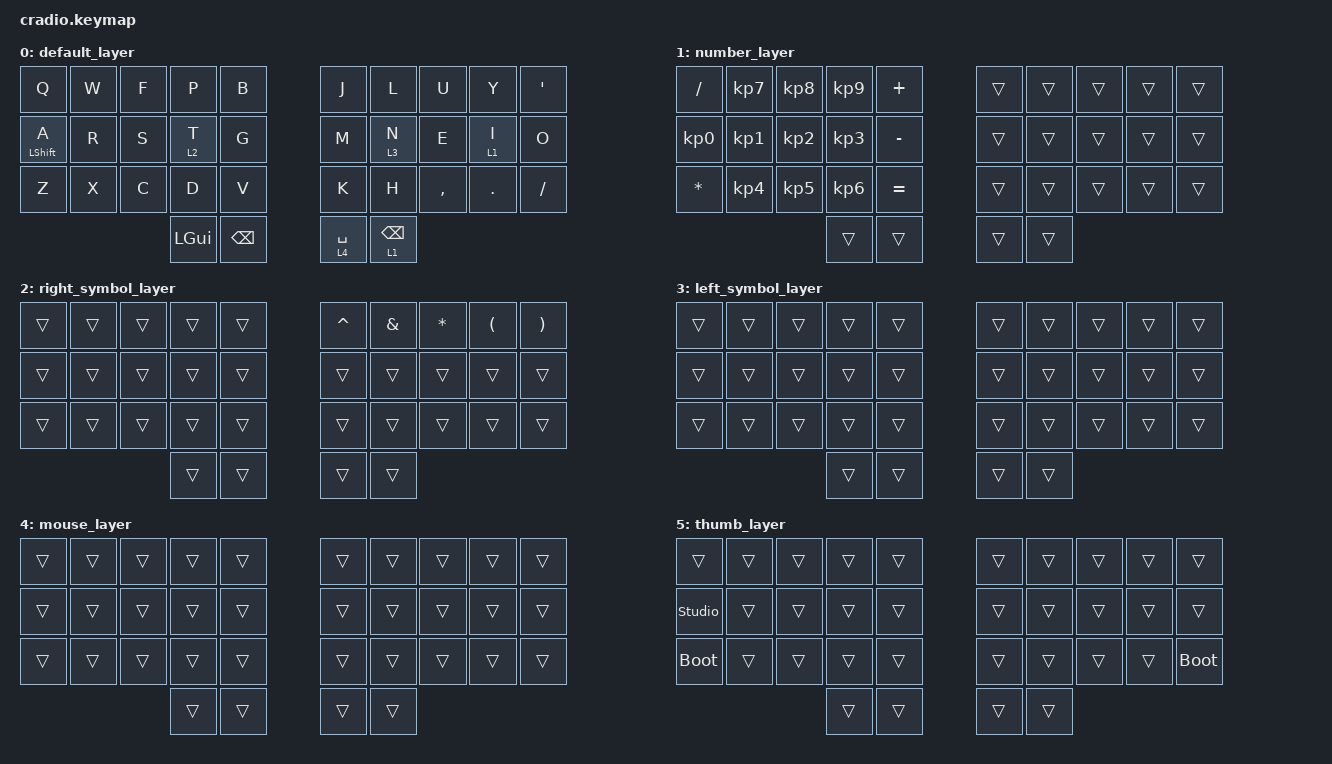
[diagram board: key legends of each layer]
// Copyright (c) 2022 The ZMK Contributors
// SPDX-License-Identifier: MIT

#include <behaviors.dtsi>
#include <dt-bindings/zmk/keys.h>
#include <dt-bindings/zmk/bt.h>

/ {
    behaviors {
        ht: hold_tap {
            compatible = "zmk,behavior-hold-tap";
            #binding-cells = <2>;
            flavor = "tap-preferred";
            tapping-term-ms = <220>;
            quick-tap-ms = <150>;
            require-prior-idle-ms = <100>;
            bindings = <&kp>, <&kp>;
        };
    };

    conditional_layers {
        compatible = "zmk,conditional-layers";
        tri_layer {
            if-layers = <1 2>;
            then-layer = <3>;
        };
    };

    keymap {
        compatible = "zmk,keymap";

        default_layer {
            bindings = <
//    ┌───────────┬───┬───┬────────┬──────┐           ┌──────────┬───────────┬───┬────────┬───┐
//    │     Q     │ W │ F │   P    │  B   │           │    J     │     L     │ U │   Y    │ ' │
//    ├───────────┼───┼───┼────────┼──────┤           ├──────────┼───────────┼───┼────────┼───┤
//    │ mt lsft A │ R │ S │ lt 2 T │  G   │           │    M     │  lt 3 N   │ E │ lt 1 I │ O │
//    ├───────────┼───┼───┼────────┼──────┤           ├──────────┼───────────┼───┼────────┼───┤
//    │     Z     │ X │ C │   D    │  V   │           │    K     │     H     │ , │   .    │ / │
//    └───────────┴───┴───┼────────┼──────┤           ├──────────┼───────────┼───┴────────┴───┘
//                        │  lgui  │ bspc │           │ lt 4 spc │ lt 1 bspc │
//                        └────────┴──────┘           └──────────┴───────────┘
  &kp Q         &kp W   &kp F   &kp P      &kp B                  &kp J         &kp L        &kp U       &kp Y     &kp SQT
  &mt LSHFT A   &kp R   &kp S   &lt 2 T    &kp G                  &kp M         &lt 3 N      &kp E       &lt 1 I   &kp O
  &kp Z         &kp X   &kp C   &kp D      &kp V                  &kp K         &kp H        &kp COMMA   &kp DOT   &kp FSLH
                                &kp LGUI   &kp BSPC               &lt 4 SPACE   &lt 1 BSPC
            >;
        };
				number_layer {
					bindings = <
//    ┌───┬───┬───┬─────┬─────┐           ┌─────┬─────┬─────┬─────┬─────┐
//    │ / │ 7 │ 8 │  9  │  +  │           │     │     │     │     │     │
//    ├───┼───┼───┼─────┼─────┤           ├─────┼─────┼─────┼─────┼─────┤
//    │ 0 │ 1 │ 2 │  3  │  -  │           │     │     │     │     │     │
//    ├───┼───┼───┼─────┼─────┤           ├─────┼─────┼─────┼─────┼─────┤
//    │ * │ 4 │ 5 │  6  │  =  │           │     │     │     │     │     │
//    └───┴───┴───┼─────┼─────┤           ├─────┼─────┼─────┴─────┴─────┘
//                │     │     │           │     │     │
//                └─────┴─────┘           └─────┴─────┘
  &kp FSLH          &kp KP_NUMBER_7   &kp KP_NUMBER_8   &kp KP_NUMBER_9   &kp PLUS                &trans   &trans   &trans   &trans   &trans
  &kp KP_NUMBER_0   &kp KP_NUMBER_1   &kp KP_NUMBER_2   &kp KP_NUMBER_3   &kp MINUS               &trans   &trans   &trans   &trans   &trans
  &kp ASTERISK      &kp KP_NUMBER_4   &kp KP_NUMBER_5   &kp KP_NUMBER_6   &kp EQUAL               &trans   &trans   &trans   &trans   &trans
                                                        &trans            &trans                  &trans   &trans
   			>;
				};
				right_symbol_layer {
				bindings = <
//    ┌─────┬─────┬─────┬─────┬─────┐           ┌─────┬─────┬─────┬─────┬─────┐
//    │     │     │     │     │     │           │  ^  │  &  │  *  │  (  │  )  │
//    ├─────┼─────┼─────┼─────┼─────┤           ├─────┼─────┼─────┼─────┼─────┤
//    │     │     │     │     │     │           │     │     │     │     │     │
//    ├─────┼─────┼─────┼─────┼─────┤           ├─────┼─────┼─────┼─────┼─────┤
//    │     │     │     │     │     │           │     │     │     │     │     │
//    └─────┴─────┴─────┼─────┼─────┤           ├─────┼─────┼─────┴─────┴─────┘
//                      │     │     │           │     │     │
//                      └─────┴─────┘           └─────┴─────┘
  &trans   &trans   &trans   &trans   &trans               &kp CARET   &kp AMPERSAND   &kp ASTERISK   &kp LEFT_PARENTHESIS   &kp RIGHT_PARENTHESIS
  &trans   &trans   &trans   &trans   &trans               &trans      &trans          &trans         &trans                 &trans
  &trans   &trans   &trans   &trans   &trans               &trans      &trans          &trans         &trans                 &trans
                             &trans   &trans               &trans      &trans
					>;
				};
				left_symbol_layer {
				bindings = <
//    ┌─────┬─────┬─────┬─────┬─────┐           ┌─────┬─────┬─────┬─────┬─────┐
//    │     │     │     │     │     │           │     │     │     │     │     │
//    ├─────┼─────┼─────┼─────┼─────┤           ├─────┼─────┼─────┼─────┼─────┤
//    │     │     │     │     │     │           │     │     │     │     │     │
//    ├─────┼─────┼─────┼─────┼─────┤           ├─────┼─────┼─────┼─────┼─────┤
//    │     │     │     │     │     │           │     │     │     │     │     │
//    └─────┴─────┴─────┼─────┼─────┤           ├─────┼─────┼─────┴─────┴─────┘
//                      │     │     │           │     │     │
//                      └─────┴─────┘           └─────┴─────┘
  &trans   &trans   &trans   &trans   &trans               &trans   &trans   &trans   &trans   &trans
  &trans   &trans   &trans   &trans   &trans               &trans   &trans   &trans   &trans   &trans
  &trans   &trans   &trans   &trans   &trans               &trans   &trans   &trans   &trans   &trans
                             &trans   &trans               &trans   &trans
					>;
				};
		mouse_layer {
				bindings = <
//    ┌─────┬─────┬─────┬─────┬─────┐           ┌─────┬─────┬─────┬─────┬─────┐
//    │     │     │     │     │     │           │     │     │     │     │     │
//    ├─────┼─────┼─────┼─────┼─────┤           ├─────┼─────┼─────┼─────┼─────┤
//    │     │     │     │     │     │           │     │     │     │     │     │
//    ├─────┼─────┼─────┼─────┼─────┤           ├─────┼─────┼─────┼─────┼─────┤
//    │     │     │     │     │     │           │     │     │     │     │     │
//    └─────┴─────┴─────┼─────┼─────┤           ├─────┼─────┼─────┴─────┴─────┘
//                      │     │     │           │     │     │
//                      └─────┴─────┘           └─────┴─────┘
  &trans   &trans   &trans   &trans   &trans               &trans   &trans   &trans   &trans   &trans
  &trans   &trans   &trans   &trans   &trans               &trans   &trans   &trans   &trans   &trans
  &trans   &trans   &trans   &trans   &trans               &trans   &trans   &trans   &trans   &trans
                             &trans   &trans               &trans   &trans
					>;
				};
		thumb_layer {
				bindings = <
//    ┌────────────────┬─────┬─────┬─────┬─────┐           ┌─────┬─────┬─────┬─────┬──────┐
//    │                │     │     │     │     │           │     │     │     │     │      │
//    ├────────────────┼─────┼─────┼─────┼─────┤           ├─────┼─────┼─────┼─────┼──────┤
//    │ &studio_unlock │     │     │     │     │           │     │     │     │     │      │
//    ├────────────────┼─────┼─────┼─────┼─────┤           ├─────┼─────┼─────┼─────┼──────┤
//    │      boot      │     │     │     │     │           │     │     │     │     │ boot │
//    └────────────────┴─────┴─────┼─────┼─────┤           ├─────┼─────┼─────┴─────┴──────┘
//                                 │     │     │           │     │     │
//                                 └─────┴─────┘           └─────┴─────┘
  &trans           &trans   &trans   &trans   &trans               &trans   &trans   &trans   &trans   &trans
  &studio_unlock   &trans   &trans   &trans   &trans               &trans   &trans   &trans   &trans   &trans
  &bootloader      &trans   &trans   &trans   &trans               &trans   &trans   &trans   &trans   &bootloader
                                     &trans   &trans               &trans   &trans
					>;
				};
		};
};
